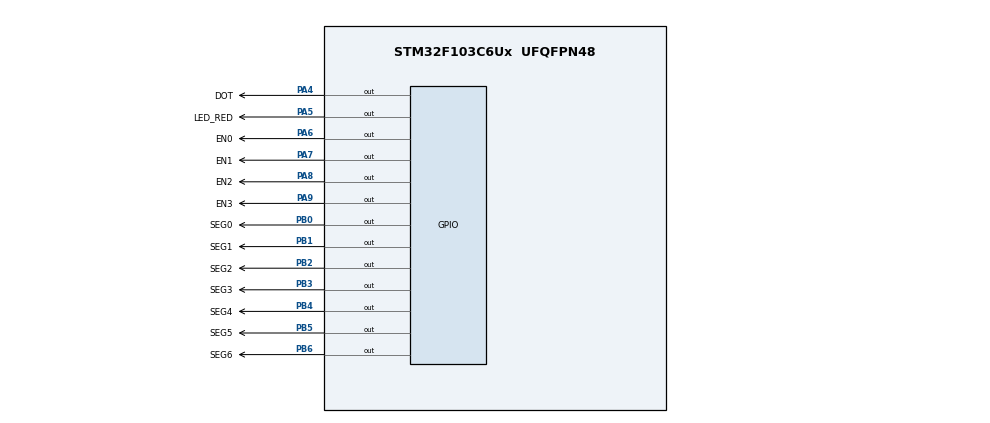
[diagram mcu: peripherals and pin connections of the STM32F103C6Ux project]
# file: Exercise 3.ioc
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Mcu.Family=STM32F1
Mcu.Name=STM32F103C6Ux
Mcu.Package=UFQFPN48
NVIC.PriorityGroup=NVIC_PRIORITYGROUP_4
NVIC.TIM2_IRQn=true\:0\:0\:false\:false\:true\:true\:true
PA4.GPIO_Label=DOT
PA4.Signal=GPIO_Output
PA5.GPIO_Label=LED_RED
PA5.Signal=GPIO_Output
PA6.GPIO_Label=EN0
PA6.Signal=GPIO_Output
PA7.GPIO_Label=EN1
PA7.Signal=GPIO_Output
PA8.GPIO_Label=EN2
PA8.Signal=GPIO_Output
PA9.GPIO_Label=EN3
PA9.Signal=GPIO_Output
PB0.GPIO_Label=SEG0
PB0.Signal=GPIO_Output
PB1.GPIO_Label=SEG1
PB1.Signal=GPIO_Output
PB2.GPIO_Label=SEG2
PB2.Signal=GPIO_Output
PB3.GPIO_Label=SEG3
PB3.Signal=GPIO_Output
PB4.GPIO_Label=SEG4
PB4.Signal=GPIO_Output
PB5.GPIO_Label=SEG5
PB5.Signal=GPIO_Output
PB6.GPIO_Label=SEG6
PB6.Signal=GPIO_Output
ProjectManager.HeapSize=0x200
ProjectManager.StackSize=0x400
ProjectManager.TargetToolchain=STM32CubeIDE
RCC.APB1Freq_Value=8000000
RCC.APB2Freq_Value=8000000
TIM2.Prescaler=7999
VP_SYS_VS_ND.Mode=No_Debug
VP_TIM2_VS_ClockSourceINT.Mode=Internal
board=custom

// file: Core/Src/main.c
/* USER CODE BEGIN Header */
/**
  ******************************************************************************
  * @file           : main.c
  * @brief          : Main program body
  ******************************************************************************
  * @attention
  *
  * <h2><center>&copy; Copyright (c) 2024 STMicroelectronics.
  * All rights reserved.</center></h2>
  *
  * This software component is licensed by ST under BSD 3-Clause license,
  * the "License"; You may not use this file except in compliance with the
  * License. You may obtain a copy of the License at:
  *                        opensource.org/licenses/BSD-3-Clause
  *
  ******************************************************************************
  */
/* USER CODE END Header */
#include "main.h"

TIM_HandleTypeDef htim2;

void SystemClock_Config(void);
static void MX_GPIO_Init(void);
static void MX_TIM2_Init(void);

void display7SEG(int num)
{
switch(num)
{
case 1:
	HAL_GPIO_WritePin(SEG0_GPIO_Port, SEG0_Pin, SET);
	HAL_GPIO_WritePin(SEG1_GPIO_Port, SEG1_Pin, RESET);
	HAL_GPIO_WritePin(SEG2_GPIO_Port, SEG2_Pin, RESET);
	HAL_GPIO_WritePin(SEG4_GPIO_Port, SEG4_Pin, SET);
	HAL_GPIO_WritePin(SEG5_GPIO_Port, SEG5_Pin, SET);
	HAL_GPIO_WritePin(SEG6_GPIO_Port, SEG6_Pin, SET);
	break;
case 2:
	HAL_GPIO_WritePin(SEG0_GPIO_Port, SEG0_Pin, RESET);
	HAL_GPIO_WritePin(SEG1_GPIO_Port, SEG1_Pin, RESET);
	HAL_GPIO_WritePin(SEG2_GPIO_Port, SEG2_Pin, SET);
	HAL_GPIO_WritePin(SEG3_GPIO_Port, SEG3_Pin, RESET);
	HAL_GPIO_WritePin(SEG4_GPIO_Port, SEG4_Pin, RESET);
	HAL_GPIO_WritePin(SEG5_GPIO_Port, SEG5_Pin, SET);
	HAL_GPIO_WritePin(SEG6_GPIO_Port, SEG6_Pin, RESET);
	break;
case 3:
	HAL_GPIO_WritePin(SEG0_GPIO_Port, SEG0_Pin, RESET);
	HAL_GPIO_WritePin(SEG1_GPIO_Port, SEG1_Pin, RESET);
	HAL_GPIO_WritePin(SEG2_GPIO_Port, SEG2_Pin, RESET);
	HAL_GPIO_WritePin(SEG3_GPIO_Port, SEG3_Pin, RESET);
	HAL_GPIO_WritePin(SEG4_GPIO_Port, SEG4_Pin, SET);
	HAL_GPIO_WritePin(SEG5_GPIO_Port, SEG5_Pin, SET);
	HAL_GPIO_WritePin(SEG6_GPIO_Port, SEG6_Pin, RESET);
	break;
case 4:
	HAL_GPIO_WritePin(SEG0_GPIO_Port, SEG0_Pin, SET);
	HAL_GPIO_WritePin(SEG1_GPIO_Port, SEG1_Pin, RESET);
	HAL_GPIO_WritePin(SEG2_GPIO_Port, SEG2_Pin, RESET);
	HAL_GPIO_WritePin(SEG3_GPIO_Port, SEG3_Pin, SET);
	HAL_GPIO_WritePin(SEG4_GPIO_Port, SEG4_Pin, SET);
	HAL_GPIO_WritePin(SEG5_GPIO_Port, SEG5_Pin, RESET);
	HAL_GPIO_WritePin(SEG6_GPIO_Port, SEG6_Pin, RESET);
	break;
}
}

//const int MAX_LED = 4;
int led_buffer[4] = {1, 2, 3, 4};
void update7SEG(int index)
{
	switch(index)
	{
	case 0:
		HAL_GPIO_WritePin(EN0_GPIO_Port, EN0_Pin, RESET);
		HAL_GPIO_WritePin(EN1_GPIO_Port, EN1_Pin, SET);
		HAL_GPIO_WritePin(EN2_GPIO_Port, EN2_Pin, SET);
		HAL_GPIO_WritePin(EN3_GPIO_Port, EN3_Pin, SET);
		display7SEG(led_buffer[0]);
		break;
	case 1:
		HAL_GPIO_WritePin(EN0_GPIO_Port, EN0_Pin, SET);
		HAL_GPIO_WritePin(EN1_GPIO_Port, EN1_Pin, RESET);
		HAL_GPIO_WritePin(EN2_GPIO_Port, EN2_Pin, SET);
		HAL_GPIO_WritePin(EN3_GPIO_Port, EN3_Pin, SET);
		display7SEG(led_buffer[1]);
		break;
	case 2:
		HAL_GPIO_WritePin(EN0_GPIO_Port, EN0_Pin, SET);
		HAL_GPIO_WritePin(EN1_GPIO_Port, EN1_Pin, SET);
		HAL_GPIO_WritePin(EN2_GPIO_Port, EN2_Pin, RESET);
		HAL_GPIO_WritePin(EN3_GPIO_Port, EN3_Pin, SET);
		display7SEG(led_buffer[2]);
		break;
	case 3:
		HAL_GPIO_WritePin(EN0_GPIO_Port, EN0_Pin, SET);
		HAL_GPIO_WritePin(EN1_GPIO_Port, EN1_Pin, SET);
		HAL_GPIO_WritePin(EN2_GPIO_Port, EN2_Pin, SET);
		HAL_GPIO_WritePin(EN3_GPIO_Port, EN3_Pin, RESET);
		display7SEG(led_buffer[3]);
		break;
	default:
		break;
	}
}
int main(void)
{

  /* MCU Configuration--------------------------------------------------------*/

  /* Reset of all peripherals, Initializes the Flash interface and the Systick. */
  HAL_Init();

  /* Configure the system clock */
  SystemClock_Config();

  /* Initialize all configured peripherals */
  MX_GPIO_Init();
  MX_TIM2_Init();
  HAL_TIM_Base_Start_IT(&htim2);

  /* Infinite loop */
  while (1)
  {

  }
}

void SystemClock_Config(void)
{
  RCC_OscInitTypeDef RCC_OscInitStruct = {0};
  RCC_ClkInitTypeDef RCC_ClkInitStruct = {0};

  /** Initializes the RCC Oscillators according to the specified parameters
  * in the RCC_OscInitTypeDef structure.
  */
  RCC_OscInitStruct.OscillatorType = RCC_OSCILLATORTYPE_HSI;
  RCC_OscInitStruct.HSIState = RCC_HSI_ON;
  RCC_OscInitStruct.HSICalibrationValue = RCC_HSICALIBRATION_DEFAULT;
  RCC_OscInitStruct.PLL.PLLState = RCC_PLL_NONE;
  if (HAL_RCC_OscConfig(&RCC_OscInitStruct) != HAL_OK)
  {
    Error_Handler();
  }
  /** Initializes the CPU, AHB and APB buses clocks
  */
  RCC_ClkInitStruct.ClockType = RCC_CLOCKTYPE_HCLK|RCC_CLOCKTYPE_SYSCLK
                              |RCC_CLOCKTYPE_PCLK1|RCC_CLOCKTYPE_PCLK2;
  RCC_ClkInitStruct.SYSCLKSource = RCC_SYSCLKSOURCE_HSI;
  RCC_ClkInitStruct.AHBCLKDivider = RCC_SYSCLK_DIV1;
  RCC_ClkInitStruct.APB1CLKDivider = RCC_HCLK_DIV1;
  RCC_ClkInitStruct.APB2CLKDivider = RCC_HCLK_DIV1;

  if (HAL_RCC_ClockConfig(&RCC_ClkInitStruct, FLASH_LATENCY_0) != HAL_OK)
  {
    Error_Handler();
  }
}

static void MX_TIM2_Init(void)
{

  TIM_ClockConfigTypeDef sClockSourceConfig = {0};
  TIM_MasterConfigTypeDef sMasterConfig = {0};

  htim2.Instance = TIM2;
  htim2.Init.Prescaler = 0;
  htim2.Init.CounterMode = TIM_COUNTERMODE_UP;
  htim2.Init.Period = 65535;
  htim2.Init.ClockDivision = TIM_CLOCKDIVISION_DIV1;
  htim2.Init.AutoReloadPreload = TIM_AUTORELOAD_PRELOAD_DISABLE;
  if (HAL_TIM_Base_Init(&htim2) != HAL_OK)
  {
    Error_Handler();
  }
  sClockSourceConfig.ClockSource = TIM_CLOCKSOURCE_INTERNAL;
  if (HAL_TIM_ConfigClockSource(&htim2, &sClockSourceConfig) != HAL_OK)
  {
    Error_Handler();
  }
  sMasterConfig.MasterOutputTrigger = TIM_TRGO_RESET;
  sMasterConfig.MasterSlaveMode = TIM_MASTERSLAVEMODE_DISABLE;
  if (HAL_TIMEx_MasterConfigSynchronization(&htim2, &sMasterConfig) != HAL_OK)
  {
    Error_Handler();
  }

}

static void MX_GPIO_Init(void)
{
  GPIO_InitTypeDef GPIO_InitStruct = {0};

  /* GPIO Ports Clock Enable */
  __HAL_RCC_GPIOA_CLK_ENABLE();
  __HAL_RCC_GPIOB_CLK_ENABLE();

  /*Configure GPIO pin Output Level */
  HAL_GPIO_WritePin(GPIOA, DOT_Pin|LED_RED_Pin|EN0_Pin|EN1_Pin
                          |EN2_Pin|EN3_Pin, GPIO_PIN_RESET);

  /*Configure GPIO pin Output Level */
  HAL_GPIO_WritePin(GPIOB, SEG0_Pin|SEG1_Pin|SEG2_Pin|SEG3_Pin
                          |SEG4_Pin|SEG5_Pin|SEG6_Pin, GPIO_PIN_RESET);

  /*Configure GPIO pins : DOT_Pin LED_RED_Pin EN0_Pin EN1_Pin
                           EN2_Pin EN3_Pin */
  GPIO_InitStruct.Pin = DOT_Pin|LED_RED_Pin|EN0_Pin|EN1_Pin
                          |EN2_Pin|EN3_Pin;
  GPIO_InitStruct.Mode = GPIO_MODE_OUTPUT_PP;
  GPIO_InitStruct.Pull = GPIO_NOPULL;
  GPIO_InitStruct.Speed = GPIO_SPEED_FREQ_LOW;
  HAL_GPIO_Init(GPIOA, &GPIO_InitStruct);

  /*Configure GPIO pins : SEG0_Pin SEG1_Pin SEG2_Pin SEG3_Pin
                           SEG4_Pin SEG5_Pin SEG6_Pin */
  GPIO_InitStruct.Pin = SEG0_Pin|SEG1_Pin|SEG2_Pin|SEG3_Pin
                          |SEG4_Pin|SEG5_Pin|SEG6_Pin;
  GPIO_InitStruct.Mode = GPIO_MODE_OUTPUT_PP;
  GPIO_InitStruct.Pull = GPIO_NOPULL;
  GPIO_InitStruct.Speed = GPIO_SPEED_FREQ_LOW;
  HAL_GPIO_Init(GPIOB, &GPIO_InitStruct);

}

/* USER CODE BEGIN 4 */
int counter = 50;
int counter1 = 100;
int index_led = 0;
void HAL_TIM_PeriodElapsedCallback(TIM_HandleTypeDef *htim)
{
  counter--;
  if(counter <= 0)
  {
	 counter = 50;
	 update7SEG(index_led++);
  }
  if(index_led > 3)
  {
	index_led = 0;
  }

  counter1--;
  if(counter1 <= 0)
  {
	 counter1 = 100;
     HAL_GPIO_WritePin(LED_RED_GPIO_Port, LED_RED_Pin, RESET);
     HAL_GPIO_WritePin(DOT_GPIO_Port, DOT_Pin, RESET);
  }
}

//}
/* USER CODE END 4 */

void Error_Handler(void)
{
  __disable_irq();
  while (1)
  {
  }
}

/************************ (C) COPYRIGHT STMicroelectronics *****END OF FILE****/
